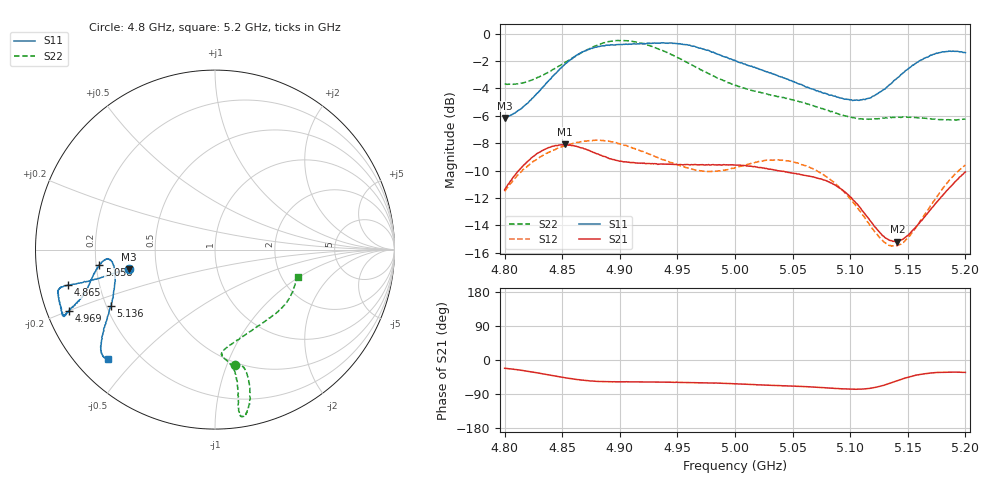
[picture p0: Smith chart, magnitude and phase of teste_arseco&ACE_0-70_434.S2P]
! Network Analyzer HP8722D
! Hewlett-Packard
! Data name: Linha & Wilkinson
! Saver's name: Rodrigo Anjos
! Comments: Teste da utilização de aquisição
! continua pelo VNA HP8722D
! Time and date: 8/5/2025 16:22
!  Frequency  S11  S21  S12  S22
# HZ  S  MA R 50
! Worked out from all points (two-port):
!   401 points, 4.8 GHz to 5.2 GHz, reference 50 ohm
!   highest |S21| = -8.10 dB at 4.852 GHz (marker M1); lowest = -15.2 dB at 5.141 GHz (marker M2)
!   |S21| within 3 dB of the highest: 4.802 GHz to 5.088 GHz (285.2 MHz wide, 5.77 % of centre); 5.188065 GHz to end of sweep
!   lowest |S11| = -6.2 dB at 4.8 GHz (marker M3), VSWR 2.94, Z = 17.2 - j5 ohm
!   |S11| at or under -10 dB: nowhere
!   |S22| runs from -6.3 to -0.5 dB; largest |S21 - S12| = 0.62
!   S11 on the Smith chart (normalised r, x): 4.8 GHz: 0.34, -0.10; 4.865 GHz: 0.09, -0.12; 4.969 GHz: 0.06, -0.20; 5.058 GHz: 0.21, -0.06; 5.136 GHz: 0.22, -0.24; 5.2 GHz: 0.09, -0.42
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4.8e9  0.4924 -167.1  0.269 -21.8  0.2656 -142.9  0.6545 -80.1
4.827e9  0.5968 -166.5  0.3613 -33.0  0.3454 -147.4  0.6855 -75.9
4.852e9  0.7705 -166.1  0.3937 -46.5  0.3893 -151.9  0.7822 -75.7
4.865e9  0.845 -166.5  0.3845 -52.1  0.4017 -153.7  0.8432 -76.6
4.867e9  0.8552 -166.3  0.3827 -53.0  0.4034 -154.0  0.8525 -76.7
4.883e9  0.8983 -165.6  0.36 -56.7  0.4077 -156.3  0.9145 -78.6
4.899e9  0.9105 -163.4  0.3426 -57.7  0.3965 -157.9  0.9427 -80.5
4.934e9  0.9214 -156.9  0.3338 -58.3  0.3519 -156.3  0.8759 -81.5
4.969e9  0.8837 -157.2  0.3318 -59.8  0.3161 -148.1  0.7441 -80.5
5e9  0.798 -159.9  0.3312 -62.9  0.3241 -138.3  0.6469 -82.1
5.035e9  0.7077 -166.5  0.3174 -67.3  0.3455 -136.0  0.592 -86.3
5.058e9  0.6504 -172.4  0.3054 -69.9  0.3322 -138.0  0.5615 -84.9
5.067e9  0.628 -174.0  0.3002 -71.2  0.3222 -138.7  0.547 -82.6
5.083e9  0.5956 -175.0  0.285 -74.3  0.2927 -140.2  0.5181 -76.2
5.101e9  0.5731 -171.2  0.2522 -77.0  0.2467 -140.0  0.4949 -65.4
5.116e9  0.5803 -163.6  0.2112 -75.4  0.2032 -134.9  0.4864 -54.6
5.134e9  0.6498 -152.7  0.1763 -61.9  0.1684 -117.6  0.4926 -42.7
5.136e9  0.6588 -151.6  0.1756 -59.9  0.1676 -114.9  0.4933 -41.4
5.141e9  0.6891 -149.1  0.1741 -54.4  0.1684 -108.2  0.4955 -38.6
5.153e9  0.7577 -144.7  0.1891 -43.2  0.1861 -94.1  0.4951 -32.7
5.172e9  0.8393 -139.4  0.2337 -33.8  0.2431 -81.3  0.4874 -24.6
5.2e9  0.8512 -134.2  0.3124 -32.9  0.3309 -78.5  0.4873 -18.0
